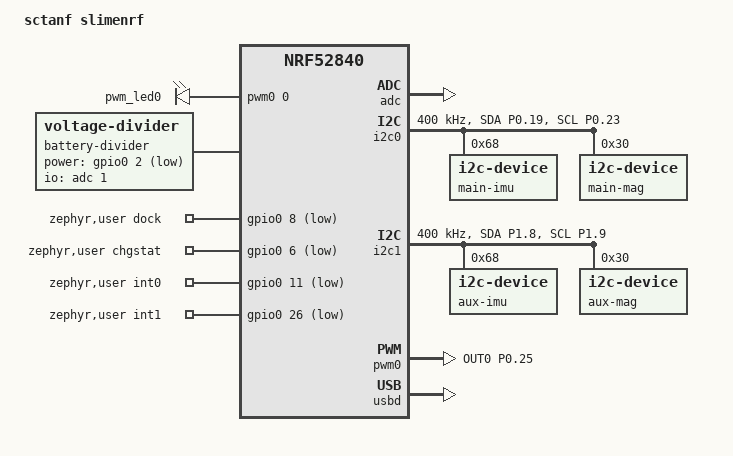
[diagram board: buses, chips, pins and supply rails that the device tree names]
// Copyright (c) 2023 Nordic Semiconductor ASA
// SPDX-License-Identifier: Apache-2.0

/dts-v1/;
#include <nordic/nrf52840_qiaa.dtsi>

//move to dtsi?
&pinctrl {
	i2c0_default: i2c0_default {
		group1 {
			psels = <NRF_PSEL(TWIM_SDA, 0, 19)>,
				<NRF_PSEL(TWIM_SCL, 0, 23)>;
		};
	};

	i2c0_sleep: i2c0_sleep {
		group1 {
			psels = <NRF_PSEL(TWIM_SDA, 0, 19)>,
				<NRF_PSEL(TWIM_SCL, 0, 23)>;
			low-power-enable;
		};
	};

	i2c1_default: i2c1_default {
		group1 {
			psels = <NRF_PSEL(TWIM_SDA, 1, 8)>,
				<NRF_PSEL(TWIM_SCL, 1, 9)>;
		};
	};

	i2c1_sleep: i2c1_sleep {
		group1 {
			psels = <NRF_PSEL(TWIM_SDA, 1, 8)>,
				<NRF_PSEL(TWIM_SCL, 1, 9)>;
			low-power-enable;
		};
	};

	pwm0_default: pwm0_default {
		group1 {
			psels = <NRF_PSEL(PWM_OUT0, 0, 25)>;
			nordic,invert;
		};
	};

	pwm0_sleep: pwm0_sleep {
		group1 {
			psels = <NRF_PSEL(PWM_OUT0, 0, 25)>;
			low-power-enable;
		};
	};

};
//end

/ {
	model = "sctanf slimenrf";
	compatible = "sctanf,sctanf-slimenrf";

	chosen {
		zephyr,sram = &sram0;
		zephyr,flash = &flash0;
		zephyr,code-partition = &slot0_partition;
		zephyr,console = &cdc_acm_uart;
	};

	pwmleds {
		compatible = "pwm-leds";
		pwm_led0: pwm_led_0 {
			pwms = <&pwm0 0 PWM_MSEC(20) PWM_POLARITY_NORMAL>;
		};
	};

	battery-divider {
		compatible = "voltage-divider";
		status = "okay";
		io-channels = <&adc 1>;
		output-ohms = <510000>;
		full-ohms = <(1000000+510000)>;
		power-gpios = <&gpio0 2 (GPIO_OPEN_DRAIN|GPIO_ACTIVE_LOW)>;
	};

	zephyr,user {
		dock-gpios = <&gpio0 8 (GPIO_PULL_UP|GPIO_ACTIVE_LOW)>;
		chgstat-gpios = <&gpio0 6 (GPIO_PULL_UP|GPIO_ACTIVE_LOW)>;
		int0-gpios = <&gpio0 11 (GPIO_PULL_UP|GPIO_ACTIVE_LOW)>;
		int1-gpios = <&gpio0 26 (GPIO_PULL_UP|GPIO_ACTIVE_LOW)>;
	};

};

&flash0 {
	partitions {
		compatible = "fixed-partitions";
		#address-cells = <1>;
		#size-cells = <1>;

		boot_partition: partition@0 {
			label = "mcuboot";
			reg = <0x0 0xc000>;
		};
		slot0_partition: partition@c000 {
			label = "image-0";
			reg = <0xc000 0x72000>;
		};
		slot1_partition: partition@7e000 {
			label = "image-1";
			reg = <0x7e000 0x72000>;
		};
		scratch_partition: partition@f0000 {
			label = "image-scratch";
			reg = <0xf0000 0xa000>;
		};
		storage_partition: partition@fa000 {
			label = "storage";
			reg = <0xfa000 0x6000>;
		};
	};
};

&adc {
	status = "okay";
};

&gpiote {
	status = "okay";
};

&gpio0 {
	status = "okay";
};

&gpio1 {
	status = "okay";
};

&i2c0 {
	compatible = "nordic,nrf-twim";
	status = "okay";
	clock-frequency = <I2C_BITRATE_FAST>;
	pinctrl-0 = <&i2c0_default>;
	pinctrl-1 = <&i2c0_sleep>;
	pinctrl-names = "default", "sleep";

	icm_0: icm42688@68 {
		compatible = "i2c-device";
		label = "main-imu";
		reg = <0x68>;
	};

	mmc_0: mmc5983ma@30 {
		compatible = "i2c-device";
		label = "main-mag";
		reg = <0x30>;
	};

};

&i2c1 {
	compatible = "nordic,nrf-twim";
	status = "okay";
	clock-frequency = <I2C_BITRATE_FAST>;
	pinctrl-0 = <&i2c1_default>;
	pinctrl-1 = <&i2c1_sleep>;
	pinctrl-names = "default", "sleep";

	icm_1: icm42688@68 {
		compatible = "i2c-device";
		label = "aux-imu";
		reg = <0x68>;
	};

	mmc_1: mmc5983ma@30 {
		compatible = "i2c-device";
		label = "aux-mag";
		reg = <0x30>;
	};

};

&pwm0 {
	status = "okay";
	pinctrl-0 = <&pwm0_default>;
	pinctrl-1 = <&pwm0_sleep>;
	pinctrl-names = "default", "sleep";
};

zephyr_udc0: &usbd {
	compatible = "nordic,nrf-usbd";
	status = "okay";
	cdc_acm_uart: cdc_acm_uart {
		compatible = "zephyr,cdc-acm-uart";
	};
};
